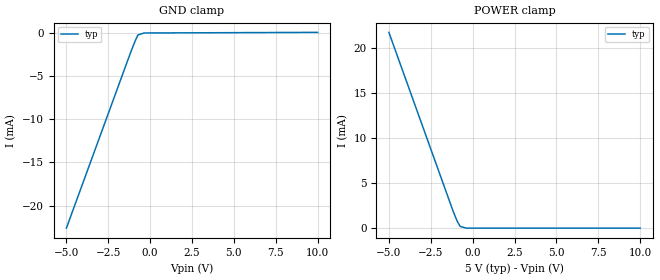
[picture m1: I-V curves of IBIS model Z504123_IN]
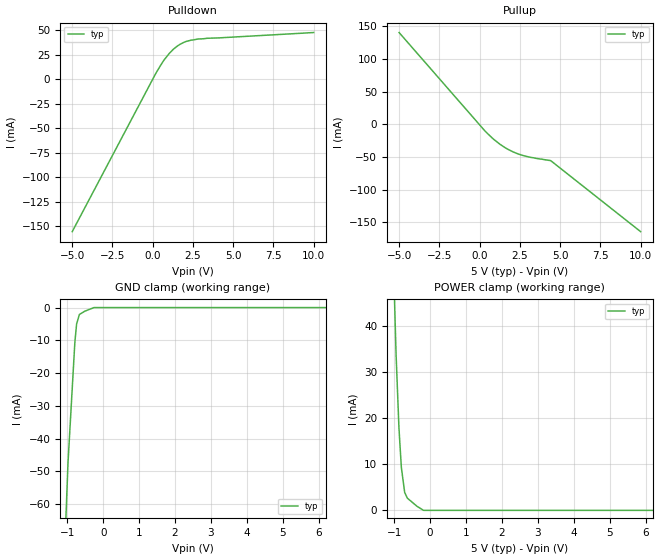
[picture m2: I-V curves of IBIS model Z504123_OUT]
| YOU ARE ONLY AUTHORIZED TO USE THIS SOFTWARE
| ACCORDING TO LICENSOR'S LICENSE RESTRICTIONS.
[IBIS Ver] 3.1
[File Name] mc54hc75j.ibs
[File Rev] 2.0
[Source] Measured and created by ICX Technology
[Date] Friday 7/14/00 9:08:07 AM
[Copyright]
| (C) COPYRIGHT 1993-2000
| MENTOR GRAPHICS CORPORATION
| ICX STANDARD LIBRARY, ICX PROJECT MODELING,
| ICX CUSTOM MODELING, ICX VENDOR MODEL
| ALL RIGHTS RESERVED.
| THE FOLLOWING ARE TRADEMARKS OR SERVICE MARKS OF
| MENTOR GRAPHICS CORPORATION:ICX (R), ICX STANDARD
| LIBRARY(R), ICX PROJECT MODELING(R), ICX CUSTOM
| MODELING(R), qualityIBIS(TM), MODELVIEWER(TM),
| AND MODELEDITOR(TM)
| ALL COPIES OF SOFTWARE, INCLUDING BUT NOT LIMITED TO
| ANY MODIFICATIONS, ENHANCEMENTS OR DERIVATIVE WORKS,
| MUST CONTAIN ALL MENTOR GRAPHICS CORPORATION'S
| NOTICES AND LEGENDS, INCLUDING THOSE EMBEDDED IN
| SOFTWARE AND THOSE AFFIXED TO SOFTWARE MEDIUM
| AND CONTAINER, AS RECEIVED FROM MENTOR GRAPHICS
| CORPORATION.
|  ZAP Model Builder 2.7
[Component] MC54HC75J
[Manufacturer] OnSemiconductor
[Package]
| variable   typ   min   max
R_pkg  .212ohms NA NA
L_pkg  4.758nH NA NA
C_pkg  1.944pF NA NA
[Pin] signal_name  model_name  R_pin  L_pin C_pin
1 _Q0 Z504123_OUT .224 7.258n 2.683p
2 D0 Z504123_IN .216 5.258n 2.19p
3 D1 Z504123_IN .208 3.758n 1.697p
4 CLK Z504123_IN .2 2.758n 1.204p
5 VCC POWER .2 2.758n 1.204p
6 D0 Z504123_IN .208 3.758n 1.697p
7 D1 Z504123_IN .216 5.258n 2.19p
8 _Q1 Z504123_OUT .224 7.258n 2.683p
9 Q1 Z504123_OUT .224 7.258n 2.683p
10 Q0 Z504123_OUT .216 5.258n 2.19p
11 _Q0 Z504123_OUT .208 3.758n 1.697p
12 GND GND .2 2.758n 1.204p
13 CLK Z504123_IN .2 2.758n 1.204p
14 _Q1 Z504123_OUT .208 3.758n 1.697p
15 Q1 Z504123_OUT .216 5.258n 2.19p
16 Q0 Z504123_OUT .224 7.258n 2.683p
| Models and submodels in the file (2): Z504123_IN (Input), Z504123_OUT (Output)
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| (C) COPYRIGHT 1993-2000
| MENTOR GRAPHICS CORPORATION
| ICX STANDARD LIBRARY, ICX PROJECT MODELING,
| ICX CUSTOM MODELING, ICX VENDOR MODEL
| ALL RIGHTS RESERVED.
| THE FOLLOWING ARE TRADEMARKS OR SERVICE MARKS OF
| MENTOR GRAPHICS CORPORATION:ICX (R), ICX STANDARD
| LIBRARY(R), ICX PROJECT MODELING(R), ICX CUSTOM
| MODELING(R), qualityIBIS(TM), MODELVIEWER(TM),
| AND MODELEDITOR(TM)
| ALL COPIES OF SOFTWARE, INCLUDING BUT NOT LIMITED TO
| ANY MODIFICATIONS, ENHANCEMENTS OR DERIVATIVE WORKS,
| MUST CONTAIN ALL MENTOR GRAPHICS CORPORATION'S
| NOTICES AND LEGENDS, INCLUDING THOSE EMBEDDED IN
| SOFTWARE AND THOSE AFFIXED TO SOFTWARE MEDIUM
| AND CONTAINER, AS RECEIVED FROM MENTOR GRAPHICS
| CORPORATION.
| Model Application Version 1.89 2/18/99.
[Model] Z504123_IN
Model_type Input
Vinl = 1.000V
Vinh = 3.500V
C_comp 4.000pF NA NA
| variable typ   min   max
[Voltage Range] 5.000V NA NA
[GND Clamp Reference] 0.000V NA NA
[POWER Clamp Reference] 5.000V NA NA
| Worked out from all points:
|   POWER clamp passes 1 mA (typ) near -0.97 V on its own axis
[GND Clamp]
-5V       -22.6mA    NA         NA
-1.167V   -2.293mA   NA         NA
-898.2mV  -975.5uA   NA         NA
-728.2mV  -262.7uA   NA         NA
-364.1mV  -32.15uA   NA         NA
10V       38.18uA    NA         NA
[POWER Clamp]
-5V       21.72mA    NA         NA
-1.152V   1.812mA    NA         NA
-923mV    774.1uA    NA         NA
-747mV    195.9uA    NA         NA
-373.5mV  0A         NA         NA
10V       0A         NA         NA
| (C) COPYRIGHT 1993-2000
| MENTOR GRAPHICS CORPORATION
| ICX STANDARD LIBRARY, ICX PROJECT MODELING,
| ICX CUSTOM MODELING, ICX VENDOR MODEL
| ALL RIGHTS RESERVED.
| THE FOLLOWING ARE TRADEMARKS OR SERVICE MARKS OF
| MENTOR GRAPHICS CORPORATION:ICX (R), ICX STANDARD
| LIBRARY(R), ICX PROJECT MODELING(R), ICX CUSTOM
| MODELING(R), qualityIBIS(TM), MODELVIEWER(TM),
| AND MODELEDITOR(TM)
| ALL COPIES OF SOFTWARE, INCLUDING BUT NOT LIMITED TO
| ANY MODIFICATIONS, ENHANCEMENTS OR DERIVATIVE WORKS,
| MUST CONTAIN ALL MENTOR GRAPHICS CORPORATION'S
| NOTICES AND LEGENDS, INCLUDING THOSE EMBEDDED IN
| SOFTWARE AND THOSE AFFIXED TO SOFTWARE MEDIUM
| AND CONTAINER, AS RECEIVED FROM MENTOR GRAPHICS
| CORPORATION.
| Model Application Version 1.89 2/18/99.
[Model] Z504123_OUT
Model_type Output
Vref=0.000V
Rref=500.0Mohms
Cref=50.00pF
Vmeas=2.500V
C_comp 8.000pF NA NA
| variable typ   min   max
[Voltage Range] 5.000V NA NA
[POWER Clamp Reference] 5.000V NA NA
[Pullup Reference] 5.000V NA NA
[Pulldown Reference] 0.000V NA NA
[GND Clamp Reference] 0.000V NA NA
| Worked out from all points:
|   slope of the pulldown table from 0 to 0.75 V, typ, clamps not added: 36.4 ohm
|   slope of the pullup table from 0 to 0.75 V, typ, clamps not added: 38.7 ohm
[GND Clamp]
-5V       -1.543A    NA         NA
-1.161V   -99.33mA   NA         NA
-982.3mV  -47.62mA   NA         NA
-791mV    -10.72mA   NA         NA
-742.1mV  -5.025mA   NA         NA
-664mV    -2.109mA   NA         NA
-512.8mV  -1.103mA   NA         NA
-256.4mV  0A         NA         NA
10V       0A         NA         NA
[Pulldown]
-5V       -155.7mA   NA         NA
183mV     5.822mA    NA         NA
703.1mV   19.74mA    NA         NA
1.27V     30.55mA    NA         NA
1.92V     37.68mA    NA         NA
2.793V    41.14mA    NA         NA
10V       47.8mA     NA         NA
[Pullup]
-5V       140.7mA    NA         NA
313mV     -9.622mA   NA         NA
855mV     -22.59mA   NA         NA
1.582V    -35.79mA   NA         NA
2.41V     -45.57mA   NA         NA
3.242V    -50.98mA   NA         NA
4.414V    -55.62mA   NA         NA
10V       -164.5mA   NA         NA
[POWER Clamp]
-5V       1.418A     NA         NA
-1.099V   75.17mA    NA         NA
-948mV    33.86mA    NA         NA
-868mV    17.9mA     NA         NA
-801mV    9.331mA    NA         NA
-708mV    3.872mA    NA         NA
-633mV    2.644mA    NA         NA
-366mV    889.3uA    NA         NA
-183mV    0A         NA         NA
10V       0A         NA         NA
[Ramp]
| variable typ min max
dV/dt_r 2.819/1.710n NA NA
dV/dt_f 2.819/1.297n NA NA
R_load = 500.0Ohms
